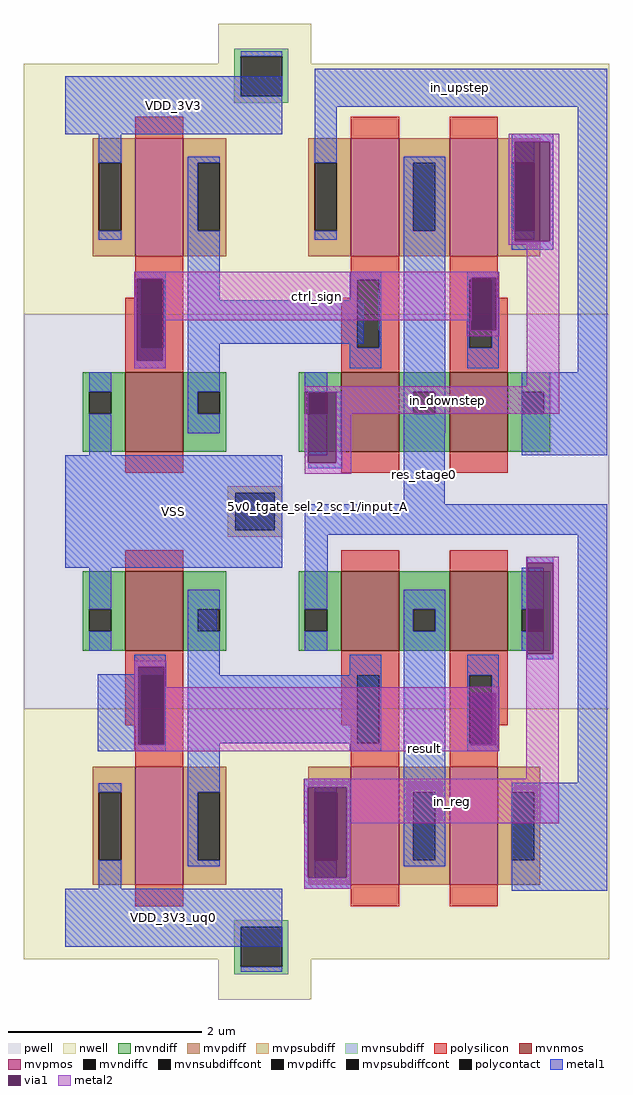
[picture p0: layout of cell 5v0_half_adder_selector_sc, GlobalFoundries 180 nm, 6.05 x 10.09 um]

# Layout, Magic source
magic
tech gf180mcuD
magscale 1 10
<< mvpsubdiff >>
rect -168 -129 -56 -116
rect -168 -207 -153 -129
rect -71 -207 -56 -129
rect -168 -220 -56 -207
<< mvpsubdiffcont >>
rect -153 -207 -71 -129
<< metal1 >>
rect -504 612 -56 732
rect 11 669 616 747
rect 11 553 57 669
rect 419 596 504 613
rect 419 391 425 596
rect 497 391 504 596
rect 419 373 504 391
rect -239 179 113 269
rect 555 120 616 669
rect -2 79 68 80
rect -504 -129 -56 -52
rect 56 -67 68 79
rect -2 -79 68 -67
rect -504 -207 -153 -129
rect -71 -207 -56 -129
rect 195 -153 280 34
rect 439 -52 616 120
rect -504 -284 -56 -207
rect -9 -216 616 -153
rect -9 -292 38 -216
rect 451 -274 504 -262
rect -354 -489 -300 -481
rect -437 -650 -354 -504
rect -244 -507 -191 -342
rect 90 -507 144 -478
rect -244 -517 145 -507
rect -240 -647 145 -517
rect -437 -664 -326 -650
rect -10 -738 86 -721
rect -10 -925 -3 -738
rect 78 -925 86 -738
rect 195 -902 281 -416
rect 451 -474 504 -462
rect 555 -729 616 -216
rect -10 -948 86 -925
rect -504 -1068 -56 -948
rect 419 -952 616 -729
<< via1 >>
rect 425 391 497 596
rect -357 144 -303 313
rect -2 -67 56 79
rect -354 -650 -300 -489
rect -3 -925 78 -738
rect 451 -462 504 -274
<< metal2 >>
rect 413 596 517 613
rect 413 391 425 596
rect 497 391 517 596
rect 413 384 517 391
rect -362 313 336 328
rect -362 144 -357 313
rect -303 227 336 313
rect -303 144 -297 227
rect -362 128 -297 144
rect 450 91 517 384
rect -9 79 517 91
rect -9 -67 -2 79
rect 56 34 517 79
rect 56 -67 87 34
rect -9 -90 87 -67
rect 449 -274 516 -262
rect 449 -462 451 -274
rect 504 -462 516 -274
rect -362 -489 -296 -477
rect -362 -650 -354 -489
rect -300 -531 -296 -489
rect -300 -650 393 -531
rect -362 -664 393 -650
rect 449 -721 516 -462
rect -11 -738 516 -721
rect -11 -813 -3 -738
rect -10 -925 -3 -813
rect 78 -813 516 -738
rect 78 -925 86 -813
rect -10 -948 86 -925
use tgate_custom  5v0_tgate_sel_2_sc_0
transform 1 0 0 0 1 0
box -590 -198 620 841
use tgate_custom  5v0_tgate_sel_2_sc_1
transform 1 0 0 0 -1 -336
box -590 -198 620 841
<< labels >>
rlabel metal2 13 -169 21 -146 5 5v0_tgate_sel_2_sc_1/input_A
port 1 n signal bidirectional
rlabel metal1 -504 -284 -56 -52 1 VSS
port 2 n ground bidirectional
rlabel metal1 -504 612 -56 732 1 VDD_3V3
port 3 n power bidirectional
rlabel metal1 195 -902 281 -416 1 result
port 4 n signal bidirectional
rlabel metal2 78 -813 516 -721 1 in_reg
port 5 n signal bidirectional
rlabel metal2 56 34 517 91 1 in_downstep
port 6 n signal bidirectional
rlabel metal1 11 669 616 747 1 in_upstep
port 7 n signal bidirectional
rlabel metal1 -504 -1068 -56 -948 1 VDD_3V3_uq0
port 8 n power bidirectional
rlabel metal2 -303 227 336 328 1 ctrl_sign
port 9 n signal bidirectional
rlabel metal1 195 -216 280 34 1 res_stage0
port 11 n signal bidirectional
<< end >>

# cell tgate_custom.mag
magic
tech gf180mcuD
magscale 1 10
<< nwell >>
rect -188 840 0 841
rect -188 734 4 840
rect -184 733 4 734
rect -168 724 -26 733
<< mvnsubdiff >>
rect -155 773 -43 789
rect -155 691 -142 773
rect -56 691 -43 773
rect -155 677 -43 691
<< mvnsubdiffcont >>
rect -142 691 -56 773
<< metal1 >>
rect -142 773 -56 784
rect -504 691 -142 732
rect -504 612 -56 691
rect -249 167 -185 289
rect 84 207 91 289
rect 144 207 147 289
rect 195 207 280 566
rect -504 -172 -169 -52
<< via1 >>
rect 334 207 387 315
<< metal2 >>
rect 326 315 393 328
rect 326 207 334 315
rect 387 207 393 315
rect 326 194 393 207
use half_gate_0  gf180mcu_fd_sc_mcu7t5v0__inv_1_0
transform 1 0 -58 0 1 -112
box -86 -86 534 870
use half_gate_0  half_tgate_0
transform -1 0 534 0 1 -112
box -86 -86 534 870
use not_internal_mod  not_internal_0
transform 1 0 -504 0 1 -112
box -86 -86 534 870
<< labels >>
rlabel metal1 -504 612 -56 732 1 VDD_3V3
port 6 n power bidirectional
rlabel space -251 80 -185 413 1 not_test
port 7 n signal output
rlabel metal2 50 385 86 647 1 input_A
port 1 n signal bidirectional
rlabel metal1 -504 -172 -169 -52 1 VSS
port 4 n ground bidirectional
<< end >>

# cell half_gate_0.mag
magic
tech gf180mcuD
magscale 1 10
<< nwell >>
rect -86 352 534 870
<< pwell >>
rect -86 -86 534 352
<< mvnmos >>
rect 124 68 244 232
<< mvpmos >>
rect 144 472 244 716
<< mvndiff >>
rect 36 192 124 232
rect 36 146 49 192
rect 95 146 124 192
rect 36 68 124 146
rect 244 192 332 232
rect 244 146 273 192
rect 319 146 332 192
rect 244 68 332 146
<< mvpdiff >>
rect 56 665 144 716
rect 56 525 69 665
rect 115 525 144 665
rect 56 472 144 525
rect 244 665 332 716
rect 244 525 273 665
rect 319 525 332 665
rect 244 472 332 525
<< mvndiffc >>
rect 49 146 95 192
rect 273 146 319 192
<< mvpdiffc >>
rect 69 525 115 665
rect 273 525 319 665
<< polysilicon >>
rect 144 716 244 760
rect 144 423 244 472
rect 144 386 157 423
rect 124 283 157 386
rect 203 283 244 423
rect 124 232 244 283
rect 124 24 244 68
<< polycontact >>
rect 157 283 203 423
<< metal1 >>
rect 69 665 115 724
rect 69 506 115 525
rect 253 665 319 678
rect 253 525 273 665
rect 142 423 207 440
rect 142 283 157 423
rect 203 283 207 423
rect 142 240 207 283
rect 49 192 95 232
rect 49 60 95 146
rect 253 192 319 525
rect 253 146 273 192
rect 253 106 319 146
<< properties >>
string FIXED_BBOX 0 0 448 784
string GDS_END 476332
string GDS_FILE $PDKPATH/libs.ref/gf180mcu_fd_sc_mcu7t5v0/gds/gf180mcu_fd_sc_mcu7t5v0.gds
string GDS_START 474136
string LEFclass core
string LEFsite GF018hv5v_mcu_sc7
string LEFsymmetry X Y
<< end >>

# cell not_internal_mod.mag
magic
tech gf180mcuD
magscale 1 10
<< nwell >>
rect -86 352 534 870
<< pwell >>
rect -86 -86 534 352
<< mvnmos >>
rect 124 68 244 232
<< mvpmos >>
rect 144 472 244 716
<< mvndiff >>
rect 36 192 124 232
rect 36 146 49 192
rect 95 146 124 192
rect 36 68 124 146
rect 244 192 332 232
rect 244 146 273 192
rect 319 146 332 192
rect 244 68 332 146
<< mvpdiff >>
rect 56 665 144 716
rect 56 525 69 665
rect 115 525 144 665
rect 56 472 144 525
rect 244 665 332 716
rect 244 525 273 665
rect 319 525 332 665
rect 244 472 332 525
<< mvndiffc >>
rect 49 146 95 192
rect 273 146 319 192
<< mvpdiffc >>
rect 69 525 115 665
rect 273 525 319 665
<< polysilicon >>
rect 144 716 244 760
rect 144 423 244 472
rect 144 386 157 423
rect 124 283 157 386
rect 203 283 244 423
rect 124 232 244 283
rect 124 24 244 68
<< polycontact >>
rect 157 283 203 423
<< metal1 >>
rect 0 724 448 844
rect 69 665 115 724
rect 69 506 115 525
rect 253 665 319 678
rect 253 525 273 665
rect 142 423 207 440
rect 142 283 157 423
rect 203 283 207 423
rect 142 240 207 283
rect 49 192 95 232
rect 49 60 95 146
rect 253 192 319 525
rect 253 146 273 192
rect 253 106 319 146
rect 0 -60 448 60
<< properties >>
string FIXED_BBOX 0 0 448 784
string GDS_END 476332
string GDS_FILE $PDKPATH/libs.ref/gf180mcu_fd_sc_mcu7t5v0/gds/gf180mcu_fd_sc_mcu7t5v0.gds
string GDS_START 474136
string LEFclass core
string LEFsite GF018hv5v_mcu_sc7
string LEFsymmetry X Y
<< end >>
